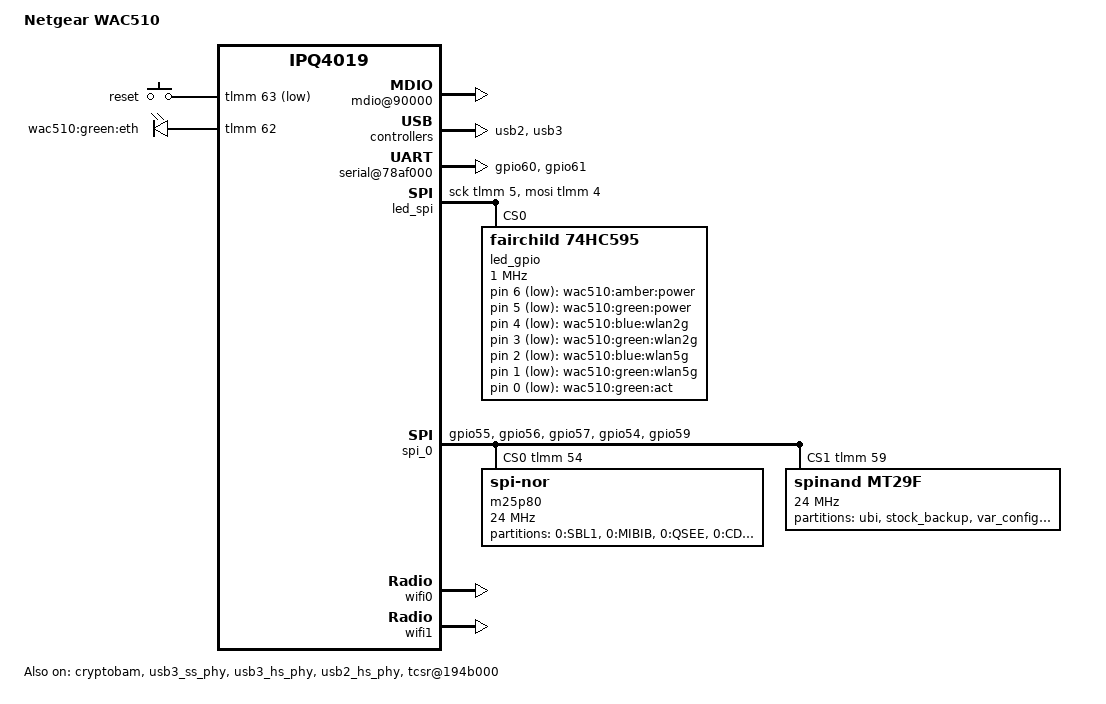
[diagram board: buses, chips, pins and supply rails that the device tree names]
/* Copyright (c) 2015, The Linux Foundation. All rights reserved.
 * Copyright (c) 2018, Robert Marko <robimarko@gmail.com>
 *
 * Permission to use, copy, modify, and/or distribute this software for any
 * purpose with or without fee is hereby granted, provided that the above
 * copyright notice and this permission notice appear in all copies.
 *
 * THE SOFTWARE IS PROVIDED "AS IS" AND THE AUTHOR DISCLAIMS ALL WARRANTIES
 * WITH REGARD TO THIS SOFTWARE INCLUDING ALL IMPLIED WARRANTIES OF
 * MERCHANTABILITY AND FITNESS. IN NO EVENT SHALL THE AUTHOR BE LIABLE FOR
 * ANY SPECIAL, DIRECT, INDIRECT, OR CONSEQUENTIAL DAMAGES OR ANY DAMAGES
 * WHATSOEVER RESULTING FROM LOSS OF USE, DATA OR PROFITS, WHETHER IN AN
 * ACTION OF CONTRACT, NEGLIGENCE OR OTHER TORTIOUS ACTION, ARISING OUT OF
 * OR IN CONNECTION WITH THE USE OR PERFORMANCE OF THIS SOFTWARE.
 *
 */

#include "qcom-ipq4019.dtsi"
#include "qcom-ipq4019-bus.dtsi"
#include <dt-bindings/gpio/gpio.h>
#include <dt-bindings/input/input.h>
#include <dt-bindings/soc/qcom,tcsr.h>

/ {
	model = "Netgear WAC510";
	compatible = "netgear,wac510", "qcom,ipq4019";

	soc {
		mdio@90000 {
			status = "okay";
		};

		ess-psgmii@98000 {
			status = "okay";
		};

		counter@4a1000 {
			compatible = "qcom,qca-gcnt";
			reg = <0x4a1000 0x4>;
		};

		tcsr@1949000 {
			compatible = "qcom,tcsr";
			reg = <0x1949000 0x100>;
			qcom,wifi_glb_cfg = <TCSR_WIFI_GLB_CFG>;
		};

		tcsr@194b000 {
			/* select hostmode */
			compatible = "qcom,tcsr";
			reg = <0x194b000 0x100>;
			qcom,usb-hsphy-mode-select = <TCSR_USB_HSPHY_HOST_MODE>;
			status = "okay";
		};

		ess_tcsr@1953000 {
			compatible = "qcom,tcsr";
			reg = <0x1953000 0x1000>;
			qcom,ess-interface-select = <TCSR_ESS_PSGMII>;
		};

		tcsr@1957000 {
			compatible = "qcom,tcsr";
			reg = <0x1957000 0x100>;
			qcom,wifi_noc_memtype_m0_m2 = <TCSR_WIFI_NOC_MEMTYPE_M0_M2>;
		};

		usb2: usb2@60f8800 {
			status = "okay";
		};

		serial@78af000 {
			pinctrl-0 = <&serial_pins>;
			pinctrl-names = "default";
			status = "okay";
		};

		usb3: usb3@8af8800 {
			status = "okay";
		};

		crypto@8e3a000 {
			status = "okay";
		};

		watchdog@b017000 {
			status = "okay";
		};

		ess-switch@c000000 {
			status = "okay";
			switch_lan_bmp = <0x10>; /* lan port bitmap */
		};

		edma@c080000 {
			status = "okay";
		};
	};

	aliases {
		led-boot = &power_amber;
		led-failsafe = &power_amber;
		led-running = &power_green;
		led-upgrade = &power_amber;
	};

	gpio-keys {
		compatible = "gpio-keys";

		reset {
			label = "reset";
			gpios = <&tlmm 63 GPIO_ACTIVE_LOW>;
			linux,code = <KEY_RESTART>;
		};
	};
	
	led_spi {
		compatible = "spi-gpio";
		#address-cells = <1>;
		#size-cells = <0>;

		gpio-sck = <&tlmm 5 GPIO_ACTIVE_HIGH>;
		gpio-mosi = <&tlmm 4 GPIO_ACTIVE_HIGH>;
		num-chipselects = <0>;

		led_gpio: led_gpio@0 {
			compatible = "fairchild,74hc595";
			reg = <0>;
			gpio-controller;
			#gpio-cells = <2>;
			registers-number = <1>;
			spi-max-frequency = <1000000>;
		};
	};

	gpio-leds {
		compatible = "gpio-leds";

		power_amber: power_amber {
			label = "wac510:amber:power";
			gpios = <&led_gpio 6 GPIO_ACTIVE_LOW>;
			panic-indicator;
		};

		power_green: power_green {
			label = "wac510:green:power";
			gpios = <&led_gpio 5 GPIO_ACTIVE_LOW>;
		};

		wlan2g_blue {
			label = "wac510:blue:wlan2g";
			gpios = <&led_gpio 4 GPIO_ACTIVE_LOW>;
			linux,default-trigger = "phy0tpt";
		};

		wlan2g_green {
			label = "wac510:green:wlan2g";
			gpios = <&led_gpio 3 GPIO_ACTIVE_LOW>;
			linux,default-trigger = "phy0radio";
		};

		wlan5g_blue {
			label = "wac510:blue:wlan5g";
			gpios = <&led_gpio 2 GPIO_ACTIVE_LOW>;
			linux,default-trigger = "phy1tpt";
		};

		wlan5g_green {
			label = "wac510:green:wlan5g";
			gpios = <&led_gpio 1 GPIO_ACTIVE_LOW>;
			linux,default-trigger = "phy1radio";
		};

		act_green {
			label = "wac510:green:act";
			gpios = <&led_gpio 0 GPIO_ACTIVE_LOW>;
			linux,default-trigger = "heartbeat";
		};
		/* Netgear powers LEDs for both ports from this GPIO.
		 * They are wired to the GMACs and controled by them, so
		 * we need to turn GPIO active after boot, otherwise LEDs
		 * wont work and GMACs wont work at all without GPIO power. */
		eth {
			label = "wac510:green:eth";
			gpios = <&tlmm 62 GPIO_ACTIVE_HIGH>;
			default-state = "off";
		};
	};
};

&tlmm {
	serial_pins: serial_pinmux {
		mux {
			pins = "gpio60", "gpio61";
			function = "blsp_uart0";
			bias-disable;
		};
	};
	spi_0_pins: spi_0_pinmux {
		pin {
			function = "blsp_spi0";
			pins = "gpio55", "gpio56", "gpio57";
			drive-strength = <12>;
			bias-disable;
		};
		pin_cs {
			function = "gpio";
			pins = "gpio54", "gpio59";
			drive-strength = <2>;
			bias-disable;
			output-high;
		};
	};
};

&blsp_dma {
	status = "okay";
};

&spi_0 {
	pinctrl-0 = <&spi_0_pins>;
	pinctrl-names = "default";
	cs-gpios = <&tlmm 54 GPIO_ACTIVE_HIGH>, <&tlmm 59 GPIO_ACTIVE_HIGH>;
	status = "okay";

	m25p80@0 {
		#address-cells = <1>;
		#size-cells = <0>;
		reg = <0>;
		compatible = "jedec,spi-nor";
		spi-max-frequency = <24000000>;

		partitions {
			compatible = "fixed-partitions";
			#address-cells = <1>;
			#size-cells = <1>;

			partition0@0 {
				label = "0:SBL1";
				reg = <0x00000000 0x00040000>;
				read-only;
			};
			partition1@40000 {
				label = "0:MIBIB";
				reg = <0x00040000 0x00020000>;
				read-only;
			};
			partition2@60000 {
				label = "0:QSEE";
				reg = <0x00060000 0x00060000>;
				read-only;
			};
			partition3@c0000 {
				label = "0:CDT";
				reg = <0x000c0000 0x00010000>;
				read-only;
			};
			partition4@d0000 {
				label = "0:DDRPARAMS";
				reg = <0x000d0000 0x00010000>;
				read-only;
			};
			partition5@e0000 {
				label = "0:APPSBLENV"; /* uboot env*/
				reg = <0x000e0000 0x00010000>;
				read-only;
			};
			partition5@f0000 {
				label = "0:APPSBL"; /* uboot */
				reg = <0x000f0000 0x000f0000>;
				read-only;
			};
			partition6@1e0000 {
				label = "0:MANUDATA";
				reg = <0x001e0000 0x00010000>;
				read-only;
			};
			partition7@1f0000 {
				label = "0:ART";
				reg = <0x001f0000 0x00010000>;
				read-only;
			};
		};
	};

	mt29f@1 {
		status = "okay";
		#address-cells = <1>;
		#size-cells = <0>;
		compatible = "spinand,mt29f", "w25n01gv";
		reg = <1>;
		spi-max-frequency = <24000000>;
		partitions {
			compatible = "fixed-partitions";
			#address-cells = <1>;
			#size-cells = <1>;

			ubi@0 {
				label = "ubi";
				reg = <0x00000000 0x03800000>;
			};
			stock-backup@3800000 {
				label = "stock_backup";
				reg = <0x03800000 0x03800000>;
				read-only;
			};
			var_config@7000000 {
				label = "var_config";
				reg = <0x07000000 0x00f00000>;
				read-only;
			};
			Oops_log@7f00000 {
				label = "Oops_log";
				reg = <0x07f00000 0x000c0000>;
				read-only;
			};
		};
	};
};

&cryptobam {
	status = "okay";
};

&gmac0 {
	qcom,poll_required = <1>;
	qcom,poll_required_dynamic = <1>;
	qcom,phy_mdio_addr = <3>;
	vlan_tag = <1 0x10>;
};

&gmac1 {
	qcom,poll_required = <1>;
	qcom,poll_required_dynamic = <1>;
	qcom,phy_mdio_addr = <4>;
	vlan_tag = <2 0x20>;
};

&wifi0 {
	status = "okay";
	qcom,ath10k-calibration-variant = "Netgear-WAC510";
};

&wifi1 {
	status = "okay";
	qcom,ath10k-calibration-variant = "Netgear-WAC510";
};

&usb3_ss_phy {
	status = "okay";
};

&usb3_hs_phy {
	status = "okay";
};

&usb2_hs_phy {
	status = "okay";
};
